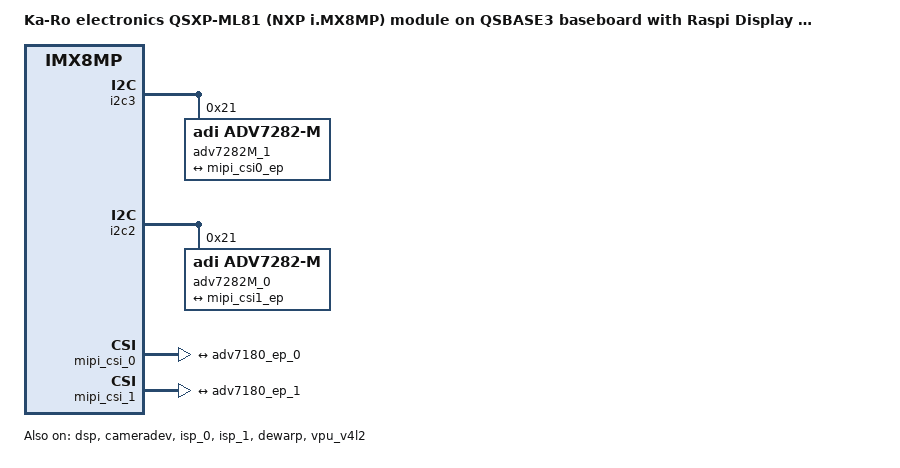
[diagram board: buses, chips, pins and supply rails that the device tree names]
// SPDX-License-Identifier: (GPL-2.0 OR MIT)
/*
 * Copyright (C) 2021 Markus Bauer <mb@karo-electronics.de>
 *
 */

/dts-v1/;

#include "imx8mp-qsxp-ml81-qsbase3-raspi-display.dts"

/ {
	model = "Ka-Ro electronics QSXP-ML81 (NXP i.MX8MP) module on QSBASE3 baseboard with Raspi Display and ADV7282-M decoder";
};

&dsp {
	status = "okay";
};

&i2c3 {
	adv7282M_1: adv7282-m@21 {
		compatible = "adi,adv7282-m";
		reg = <0x21>;
		csi_id = <0x01>;
		status = "okay";
//        mclk = <24000000>;
//        mclk_source = <0>;
//  	  mipi_camera = <1>; /* Needed for v4l2 configuration */
//        cvbs = <1>;

		port {
			adv7180_ep_0: endpoint {
//				data-lanes = <1 2 3 4>;
//				clock-lanes = <0>;
//				link-frequencies = /bits/ 64 <750000000>;
//				max-lane-frequency = /bits/ 64 <750000000>;
//				max-pixel-frequency = /bits/ 64 <266000000>;
//				max-data-rate = /bits/ 64 <0>;
				remote-endpoint = <&mipi_csi0_ep>;
			};
		};
	};
};

&i2c2 {
	adv7282M_0: adv7282-m@21 {
		compatible = "adi,adv7282-m";
		reg = <0x21>;
		csi_id = <0x00>;
		status = "okay";
//        mclk = <24000000>;
//        mclk_source = <0>;
//  	  mipi_camera = <1>; /* Needed for v4l2 configuration */
//        cvbs = <1>;
		
		port {
			adv7180_ep_1: endpoint {
//				data-lanes = <1 2 3 4>;
//				clock-lanes = <0>;
//				link-frequencies = /bits/ 64 <750000000>;
//				max-lane-frequency = /bits/ 64 <750000000>;
//				max-pixel-frequency = /bits/ 64 <266000000>;
//				max-data-rate = /bits/ 64 <0>;
				remote-endpoint = <&mipi_csi1_ep>;
			};
		};
	};
};

&mipi_csi_0 {
	status = "okay";
	clock-frequency = <266000000>;
	assigned-clock-parents = <&clk IMX8MP_SYS_PLL1_266M>;
	assigned-clock-rates = <266000000>;
	#address-cells = <1>;
	#size-cells = <0>;

	port@0 {
		reg = <0>;
		mipi_csi0_ep: endpoint {
			remote-endpoint = <&adv7180_ep_0>;
			data-lanes = <1>;
			csis-hs-settle = <16>;
		};
	};
};

&mipi_csi_1 {
	status = "okay";
	clock-frequency = <266000000>;
	assigned-clock-parents = <&clk IMX8MP_SYS_PLL1_266M>;
	assigned-clock-rates = <266000000>;
	#address-cells = <1>;
	#size-cells = <0>;

	port@1 {
		reg = <1>;
		mipi_csi1_ep: endpoint {
			remote-endpoint = <&adv7180_ep_1>;
			data-lanes = <1>;
			csis-hs-settle = <16>;
		};
	};
};

&cameradev {
	status = "okay";
};

&isi_0 {
	status = "disabled";

	cap_device {
		status = "okay";
	};

	m2m_device {
		status = "okay";
	};
};

&isi_1 {
	status = "disabled";

	cap_device {
		status = "okay";
	};

	m2m_device {
		status = "okay";
	};
};

&isp_0 {
	status = "okay";
};

&isp_1 {
	status = "okay";
};

&dewarp {
	status = "okay";
};

&vpu_v4l2 {
	status = "okay";
};
